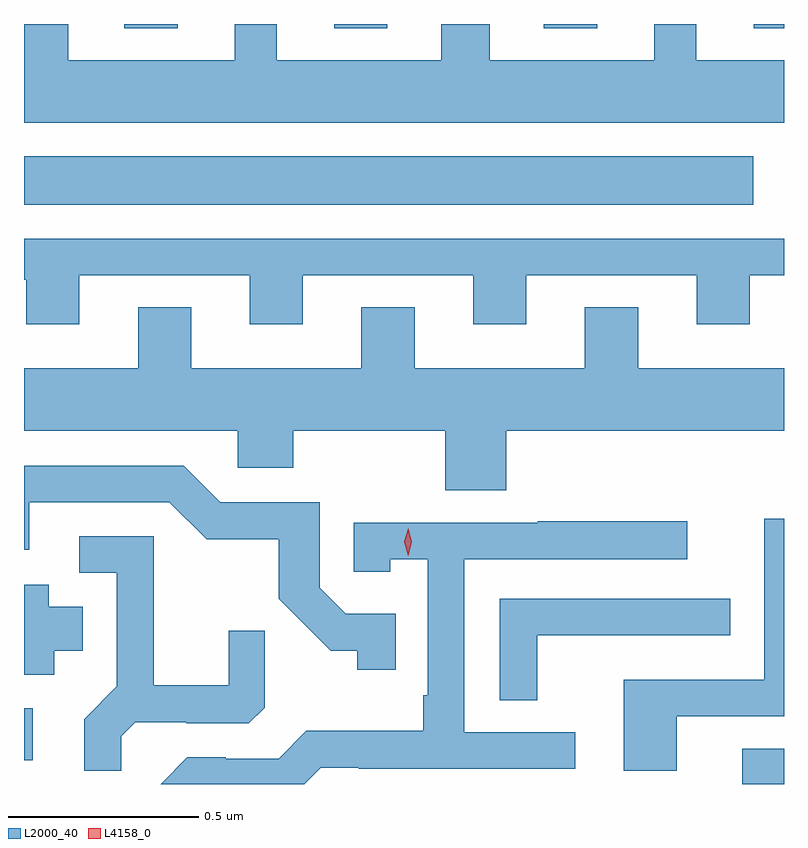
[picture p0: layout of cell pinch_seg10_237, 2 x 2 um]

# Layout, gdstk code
import gdstk
lib = gdstk.Library(unit=1e-6, precision=1e-09)
def R(c, l, rs):  # rectangles x0, y0, x1, y1
    for r in rs: c.add(gdstk.rectangle(r[:2], r[2:], *l))
def A(c, l, x, y, w, h, nx, ny, dx, dy):  # array of equal rectangles
    R(c, l, [(x+i*dx, y+j*dy, x+i*dx+w, y+j*dy+h) for i in range(nx) for j in range(ny)])
def P(c, l, *ps):  # polygons
    for p in ps: c.add(gdstk.Polygon(p, *l))
L2000_40 = (2000, 40)
L4158_0 = (4158, 0)

pinch_seg10_237 = lib.new_cell('pinch_seg10_237')
A(pinch_seg10_237, L2000_40, 622.583, 1294.715, 0.14, 0.011, 3, 1, 0.552, 0)
R(pinch_seg10_237, L2000_40, [(624.209,1292.726,624.319,1292.819), (622.319,1292.789,622.342,1292.925), (622.319,1294.25,624.238,1294.378), (624.239,1294.715,624.319,1294.726)])
P(pinch_seg10_237, L2000_40, [(624.319,1294.63),(624.088,1294.63),(624.088,1294.726),(623.978,1294.726),(623.978,1294.63),(623.545,1294.63),(623.545,1294.726),(623.417,1294.726),(623.417,1294.63),(622.984,1294.63),(622.984,1294.726),(622.874,1294.726),(622.874,1294.63),(622.435,1294.63),(622.435,1294.726),(622.319,1294.726),(622.319,1294.466),(624.319,1294.466)],
  [(622.465,1294.065),(622.913,1294.065),(622.913,1293.936),(623.053,1293.936),(623.053,1294.065),(623.501,1294.065),(623.501,1293.936),(623.641,1293.936),(623.641,1294.065),(624.089,1294.065),(624.089,1293.936),(624.229,1293.936),(624.229,1294.065),(624.319,1294.065),(624.319,1294.161),(622.319,1294.161),(622.319,1294.053),(622.325,1294.053),(622.325,1293.936),(622.465,1293.936)],
  [(623.588,1293.656),(624.319,1293.656),(624.319,1293.82),(623.935,1293.82),(623.935,1293.98),(623.795,1293.98),(623.795,1293.82),(623.347,1293.82),(623.347,1293.98),(623.207,1293.98),(623.207,1293.82),(622.759,1293.82),(622.759,1293.98),(622.619,1293.98),(622.619,1293.82),(622.319,1293.82),(622.319,1293.656),(622.881,1293.656),(622.881,1293.558),(623.028,1293.558),(623.028,1293.656),(623.428,1293.656),(623.428,1293.499),(623.588,1293.499)],
  [(623.297,1293.174),(623.166,1293.174),(623.097,1293.243),(623.097,1293.468),(622.836,1293.468),(622.74,1293.564),(622.319,1293.564),(622.319,1293.342),(622.333,1293.342),(622.333,1293.468),(622.701,1293.468),(622.8,1293.37),(622.989,1293.37),(622.989,1293.214),(623.126,1293.077),(623.196,1293.077),(623.196,1293.027),(623.297,1293.027)],
  [(624.037,1292.904),(624.319,1292.904),(624.319,1293.424),(624.267,1293.424),(624.267,1293),(623.897,1293),(623.897,1292.761),(624.037,1292.761)],
  [(623.1,1292.769),(623.2,1292.769),(623.2,1292.766),(623.77,1292.766),(623.77,1292.862),(623.478,1292.862),(623.478,1293.318),(624.064,1293.318),(624.064,1293.417),(623.671,1293.417),(623.671,1293.414),(623.187,1293.414),(623.187,1293.285),(623.283,1293.285),(623.283,1293.317),(623.382,1293.317),(623.382,1292.959),(623.37,1292.959),(623.37,1292.866),(623.062,1292.866),(622.989,1292.793),(622.85,1292.793),(622.85,1292.796),(622.749,1292.796),(622.679,1292.726),(623.057,1292.726)],
  [(622.575,1292.852),(622.612,1292.889),(622.746,1292.889),(622.746,1292.886),(622.911,1292.886),(622.952,1292.927),(622.952,1293.129),(622.858,1293.129),(622.858,1292.986),(622.661,1292.986),(622.661,1293.378),(622.464,1293.378),(622.464,1293.282),(622.563,1293.282),(622.563,1292.983),(622.477,1292.897),(622.477,1292.761),(622.575,1292.761)],
  [(622.399,1293.077),(622.474,1293.077),(622.474,1293.193),(622.384,1293.193),(622.384,1293.25),(622.319,1293.25),(622.319,1293.014),(622.399,1293.014)],
  [(623.67,1293.117),(624.065,1293.117),(624.065,1293.118),(624.178,1293.118),(624.178,1293.213),(623.571,1293.213),(623.571,1292.947),(623.67,1292.947)])
P(pinch_seg10_237, L4158_0, [(623.33,1293.327),(623.33,1293.327),(623.32,1293.363),(623.33,1293.398),(623.33,1293.399),(623.33,1293.398),(623.34,1293.363),(623.33,1293.327)])

lib.write_gds('pinch_seg10_237.gds')
